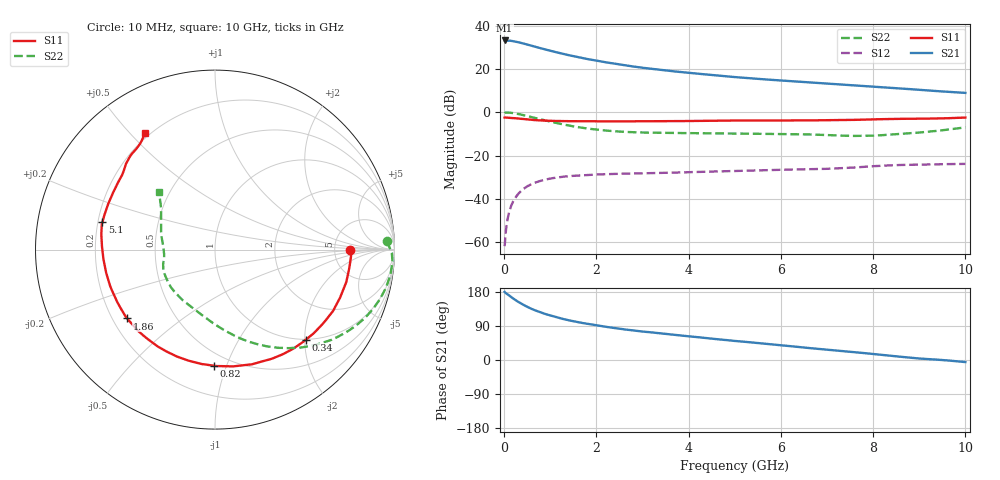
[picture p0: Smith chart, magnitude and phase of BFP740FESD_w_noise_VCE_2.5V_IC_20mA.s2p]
! Infineon Technologies  Discrete & RF Semiconductors
! BFP740FESD
! VCE =  2.5 V,  IC =  20 mA
! Common Emitter S-Parameters:  Jan 2016
# GHz  S  MA  R  50
!  f  S11  S21  S12  S22
! GHz  MAG  ANG  MAG  ANG  MAG  ANG  MAG  ANG
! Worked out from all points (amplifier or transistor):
!   233 points, 10 MHz to 10 GHz, reference 50 ohm
!   highest |S21| = 33.3 dB at 10 MHz (marker M1)
!   |S21| within 3 dB of that: start of sweep to 689 MHz
!   unconditionally stable (mu >= 1): 5.651 GHz to end of sweep
!   at 200 MHz: K = 0.09, MSG = 37.0 dB, |S12| = -41.0 dB
!   at 1.74 GHz: K = 0.45, MSG = 27.0 dB, |S12| = -29.0 dB
!   at 10 GHz: K = 1.19, MAG = 13.8 dB, |S12| = -23.9 dB
!   lowest NFmin = 0.80 dB at 450 MHz
!   S11 on the Smith chart (normalised r, x): 10 MHz: 7.13, -0.13; 340 MHz: 0.99, -2.02; 820 MHz: 0.41, -0.90; 1.86 GHz: 0.26, -0.32; 5.1 GHz: 0.22, +0.11; 10 GHz: 0.18, +0.55
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0.01  0.7542 -0.3  46.03 179.9  0.0008 114.1  0.9586 2.8
0.02  0.759 -2.7  46 178.0  0.0011 100.7  0.9855 -1.1
0.1  0.7536 -13.9  45.78 171.0  0.0046 83.9  0.9875 -8.3
0.18  0.7423 -24.8  44.65 163.7  0.0081 77.6  0.9653 -15.1
0.26  0.7281 -35.1  42.91 156.9  0.0112 73.0  0.9354 -21.4
0.34  0.7128 -44.9  41.09 150.9  0.0142 68.6  0.8991 -27.3
0.45  0.6945 -57.2  38.29 143.4  0.0179 63.0  0.8463 -34.5
0.52  0.6811 -64.4  36.53 139.2  0.0199 59.8  0.8114 -38.8
0.66  0.6616 -77.6  33.22 131.7  0.0233 54.2  0.7454 -46.3
0.82  0.6466 -90.7  29.84 124.4  0.0265 49.0  0.6777 -54.1
1  0.6361 -103.4  26.6 117.3  0.0293 44.1  0.6098 -62.0
1.2  0.6288 -115.2  23.58 110.6  0.0316 39.7  0.5468 -69.8
1.4  0.6245 -125.1  21.02 104.8  0.0333 36.2  0.4948 -76.8
1.68  0.6221 -136.1  18.21 98.1  0.035 32.5  0.4412 -85.3
1.86  0.6216 -141.9  16.69 94.3  0.0358 30.8  0.4154 -90.3
2.2  0.6184 -151.3  14.4 87.6  0.037 28.2  0.3795 -98.9
2.54  0.6178 -159.3  12.62 81.9  0.0379 26.5  0.3566 -106.8
3.4  0.6223 -173.7  9.555 70.1  0.0396 24.8  0.3362 -120.8
5.1  0.6458 166.4  6.416 49.3  0.0442 24.6  0.3222 -140.1
6.8  0.6538 147.4  4.773 29.4  0.0488 24.9  0.3032 -162.1
8.4  0.7021 132.5  3.695 10.8  0.0595 24.3  0.3064 166.5
10  0.757 120.9  2.817 -5.5  0.0641 17.7  0.449 134.1
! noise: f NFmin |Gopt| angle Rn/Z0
0.45  0.8  0.01  -145  0.08
2.4  0.82  0.04  -161  0.09
5.5  0.98  0.22  166  0.08
10  1.49  0.37  -124  0.16
